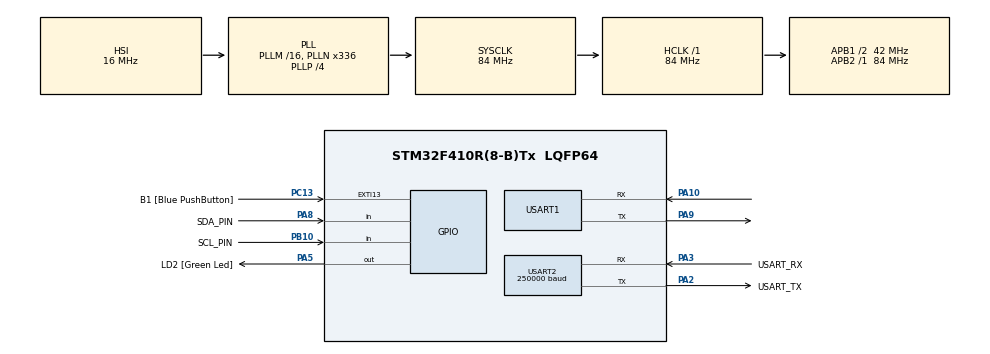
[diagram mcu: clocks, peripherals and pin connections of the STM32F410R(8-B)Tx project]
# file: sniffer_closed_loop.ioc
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Mcu.Family=STM32F4
Mcu.Name=STM32F410R(8-B)Tx
Mcu.Package=LQFP64
NVIC.PriorityGroup=NVIC_PRIORITYGROUP_0
NVIC.USART2_IRQn=true\:0\:0\:false\:false\:true\:true\:true\:true
PA10.Mode=Asynchronous
PA10.Signal=USART1_RX
PA13.GPIO_Label=TMS
PA13.Mode=Serial_Wire
PA13.Signal=SYS_JTMS-SWDIO
PA14.GPIO_Label=TCK
PA14.Mode=Serial_Wire
PA14.Signal=SYS_JTCK-SWCLK
PA2.GPIO_Label=USART_TX
PA2.Mode=Asynchronous
PA2.Signal=USART2_TX
PA3.GPIO_Label=USART_RX
PA3.Mode=Asynchronous
PA3.Signal=USART2_RX
PA5.GPIO_Label=LD2 [Green Led]
PA5.Signal=GPIO_Output
PA8.GPIO_Label=SDA_PIN
PA8.Signal=GPIO_Input
PA9.Mode=Asynchronous
PA9.Signal=USART1_TX
PB10.GPIO_Label=SCL_PIN
PB10.Signal=GPIO_Input
PB3.GPIO_Label=SWO
PB3.Signal=SYS_JTDO-SWO
PC13-ANTI_TAMP.GPIO_Label=B1 [Blue PushButton]
PC13-ANTI_TAMP.GPIO_ModeDefaultEXTI=GPIO_MODE_IT_FALLING
PC13-ANTI_TAMP.Signal=GPXTI13
PC14-OSC32_IN.Mode=LSE-External-Oscillator
PC14-OSC32_IN.Signal=RCC_OSC32_IN
PC15-OSC32_OUT.Mode=LSE-External-Oscillator
PC15-OSC32_OUT.Signal=RCC_OSC32_OUT
PH0\ -\ OSC_IN.Mode=HSE-External-Clock-Source
PH0\ -\ OSC_IN.Signal=RCC_OSC_IN
PH1\ -\ OSC_OUT.Mode=HSE-External-Clock-Source
PH1\ -\ OSC_OUT.Signal=RCC_OSC_OUT
ProjectManager.HeapSize=0x200
ProjectManager.StackSize=0x400
ProjectManager.TargetToolchain=STM32CubeIDE
RCC.48MHZClocksFreq_Value=84000000
RCC.AHBFreq_Value=84000000
RCC.APB1CLKDivider=RCC_HCLK_DIV2
RCC.APB1Freq_Value=42000000
RCC.APB1TimFreq_Value=84000000
RCC.APB2Freq_Value=84000000
RCC.APB2TimFreq_Value=84000000
RCC.CortexFreq_Value=84000000
RCC.FLatency-AdvancedSettings=FLASH_LATENCY_2
RCC.HCLKFreq_Value=84000000
RCC.HSE_VALUE=8000000
RCC.HSI_VALUE=16000000
RCC.PLLN=336
RCC.PLLP=RCC_PLLP_DIV4
RCC.SYSCLKFreq_VALUE=84000000
RCC.SYSCLKSource=RCC_SYSCLKSOURCE_PLLCLK
RCC.VCOOutputFreq_Value=336000000
USART1.VirtualMode=VM_ASYNC
USART2.BaudRate=250000
USART2.VirtualMode=VM_ASYNC
board=NUCLEO-F410RB

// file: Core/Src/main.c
/* USER CODE BEGIN Header */
/**
  ******************************************************************************
  * @file           : main.c
  * @brief          : Main program body
  ******************************************************************************
  * @attention
  *
  * Copyright (c) 2024 STMicroelectronics.
  * All rights reserved.
  *
  * This software is licensed under terms that can be found in the LICENSE file
  * in the root directory of this software component.
  * If no LICENSE file comes with this software, it is provided AS-IS.
  *
  ******************************************************************************
  */
/* USER CODE END Header */
#include "main.h"

/* USER CODE BEGIN Includes */
#include "stdbool.h"
#include "stm32f4xx_it.h"
#include "string.h"
#include "stdio.h"
/* USER CODE END Includes */

/* USER CODE BEGIN PD */
#define BUFFSIZE          10000
#define TIMEOUT             50
#define ON                  1
#define OFF                 0
#define START1            0xC0
#define START2            0x40
/* USER CODE END PD */

UART_HandleTypeDef huart1;
UART_HandleTypeDef huart2;

/* USER CODE BEGIN PV */
int j=0;
uint8_t buffer[BUFFSIZE];
uint32_t counter=0;
/* USER CODE END PV */

void SystemClock_Config(void);
static void MX_GPIO_Init(void);
static void MX_USART2_UART_Init(void);
static void MX_USART1_UART_Init(void);
/* USER CODE BEGIN PFP */
uint8_t sample(void);
uint32_t millis(void);
void display_data(int points);
int acquire_data(void);
int findNextStartCondition(int k);
int gbuffer(int i);
void printHexByte(uint8_t b);
uint8_t UART1_rxBuffer[23] = {0};
/* USER CODE END PFP */

int main(void)
{

  /* MCU Configuration--------------------------------------------------------*/

  /* Reset of all peripherals, Initializes the Flash interface and the Systick. */
  HAL_Init();

  /* Configure the system clock */
  SystemClock_Config();

  /* Initialize all configured peripherals */
  MX_GPIO_Init();
  MX_USART2_UART_Init();
  MX_USART1_UART_Init();
  /* USER CODE BEGIN 2 */
  HAL_UART_Receive_IT(&huart2, UART1_rxBuffer, 17);
  /* USER CODE END 2 */

  /* Infinite loop */
  /* USER CODE BEGIN WHILE */
  while (1)
  {
	  int points = acquire_data();
	  display_data(points);

    /* USER CODE END WHILE */

  }
}

void SystemClock_Config(void)
{
  RCC_OscInitTypeDef RCC_OscInitStruct = {0};
  RCC_ClkInitTypeDef RCC_ClkInitStruct = {0};

  /** Configure the main internal regulator output voltage
  */
  __HAL_RCC_PWR_CLK_ENABLE();
  __HAL_PWR_VOLTAGESCALING_CONFIG(PWR_REGULATOR_VOLTAGE_SCALE1);

  /** Initializes the RCC Oscillators according to the specified parameters
  * in the RCC_OscInitTypeDef structure.
  */
  RCC_OscInitStruct.OscillatorType = RCC_OSCILLATORTYPE_HSI;
  RCC_OscInitStruct.HSIState = RCC_HSI_ON;
  RCC_OscInitStruct.HSICalibrationValue = RCC_HSICALIBRATION_DEFAULT;
  RCC_OscInitStruct.PLL.PLLState = RCC_PLL_ON;
  RCC_OscInitStruct.PLL.PLLSource = RCC_PLLSOURCE_HSI;
  RCC_OscInitStruct.PLL.PLLM = 16;
  RCC_OscInitStruct.PLL.PLLN = 336;
  RCC_OscInitStruct.PLL.PLLP = RCC_PLLP_DIV4;
  RCC_OscInitStruct.PLL.PLLQ = 4;
  RCC_OscInitStruct.PLL.PLLR = 2;
  if (HAL_RCC_OscConfig(&RCC_OscInitStruct) != HAL_OK)
  {
    Error_Handler();
  }

  /** Initializes the CPU, AHB and APB buses clocks
  */
  RCC_ClkInitStruct.ClockType = RCC_CLOCKTYPE_HCLK|RCC_CLOCKTYPE_SYSCLK
                              |RCC_CLOCKTYPE_PCLK1|RCC_CLOCKTYPE_PCLK2;
  RCC_ClkInitStruct.SYSCLKSource = RCC_SYSCLKSOURCE_PLLCLK;
  RCC_ClkInitStruct.AHBCLKDivider = RCC_SYSCLK_DIV1;
  RCC_ClkInitStruct.APB1CLKDivider = RCC_HCLK_DIV2;
  RCC_ClkInitStruct.APB2CLKDivider = RCC_HCLK_DIV1;

  if (HAL_RCC_ClockConfig(&RCC_ClkInitStruct, FLASH_LATENCY_2) != HAL_OK)
  {
    Error_Handler();
  }
}

static void MX_USART1_UART_Init(void)
{

  huart1.Instance = USART1;
  huart1.Init.BaudRate = 115200;
  huart1.Init.WordLength = UART_WORDLENGTH_8B;
  huart1.Init.StopBits = UART_STOPBITS_1;
  huart1.Init.Parity = UART_PARITY_NONE;
  huart1.Init.Mode = UART_MODE_TX_RX;
  huart1.Init.HwFlowCtl = UART_HWCONTROL_NONE;
  huart1.Init.OverSampling = UART_OVERSAMPLING_16;
  if (HAL_UART_Init(&huart1) != HAL_OK)
  {
    Error_Handler();
  }

}

static void MX_USART2_UART_Init(void)
{

  huart2.Instance = USART2;
  huart2.Init.BaudRate = 250000;
  huart2.Init.WordLength = UART_WORDLENGTH_8B;
  huart2.Init.StopBits = UART_STOPBITS_1;
  huart2.Init.Parity = UART_PARITY_NONE;
  huart2.Init.Mode = UART_MODE_TX_RX;
  huart2.Init.HwFlowCtl = UART_HWCONTROL_NONE;
  huart2.Init.OverSampling = UART_OVERSAMPLING_16;
  if (HAL_UART_Init(&huart2) != HAL_OK)
  {
    Error_Handler();
  }

}

static void MX_GPIO_Init(void)
{
  GPIO_InitTypeDef GPIO_InitStruct = {0};

  /* GPIO Ports Clock Enable */
  __HAL_RCC_GPIOC_CLK_ENABLE();
  __HAL_RCC_GPIOH_CLK_ENABLE();
  __HAL_RCC_GPIOA_CLK_ENABLE();
  __HAL_RCC_GPIOB_CLK_ENABLE();

  /*Configure GPIO pin Output Level */
  HAL_GPIO_WritePin(LD2_GPIO_Port, LD2_Pin, GPIO_PIN_RESET);

  /*Configure GPIO pin : B1_Pin */
  GPIO_InitStruct.Pin = B1_Pin;
  GPIO_InitStruct.Mode = GPIO_MODE_IT_FALLING;
  GPIO_InitStruct.Pull = GPIO_NOPULL;
  HAL_GPIO_Init(B1_GPIO_Port, &GPIO_InitStruct);

  /*Configure GPIO pin : LD2_Pin */
  GPIO_InitStruct.Pin = LD2_Pin;
  GPIO_InitStruct.Mode = GPIO_MODE_OUTPUT_PP;
  GPIO_InitStruct.Pull = GPIO_NOPULL;
  GPIO_InitStruct.Speed = GPIO_SPEED_FREQ_LOW;
  HAL_GPIO_Init(LD2_GPIO_Port, &GPIO_InitStruct);

  /*Configure GPIO pin : SCL_PIN_Pin */
  GPIO_InitStruct.Pin = SCL_PIN_Pin;
  GPIO_InitStruct.Mode = GPIO_MODE_INPUT;
  GPIO_InitStruct.Pull = GPIO_NOPULL;
  HAL_GPIO_Init(SCL_PIN_GPIO_Port, &GPIO_InitStruct);

  /*Configure GPIO pin : SDA_PIN_Pin */
  GPIO_InitStruct.Pin = SDA_PIN_Pin;
  GPIO_InitStruct.Mode = GPIO_MODE_INPUT;
  GPIO_InitStruct.Pull = GPIO_NOPULL;
  HAL_GPIO_Init(SDA_PIN_GPIO_Port, &GPIO_InitStruct);

}

/* USER CODE BEGIN 4 */

////////////////////////
void printHexByte(uint8_t b) //-------------------> funziona
////////////////////////
{
  char hexChars[] = "0123456789ABCDEF";

  // Calcola i valori hex dei nibble
  char highNibble = hexChars[(b >> 4) & 0x0F];
  char lowNibble = hexChars[b & 0x0F];
  // Invia i caratteri sulla seriale
  HAL_UART_Transmit(&huart2, (uint8_t *)&highNibble, 1, HAL_MAX_DELAY);
  HAL_UART_Transmit(&huart2, (uint8_t *)&lowNibble, 1, HAL_MAX_DELAY);
}

////////////////////////
void printabytes(int* bytes)//-----------------------> non l'ho provata ma penso che funzioni
///////////////////////
{
  for(int i=0; i<3; i++)
  {
    printHexByte(bytes[i] / 2);
  }
}

//////////////////
int gbuffer(int i)//---------------------------> sembra funzionare, attento al tipo ecc
//////////////////
{
    return (buffer[i] >> 6) & 0x3;
}

/////////////////////////////////
int findNextStartCondition(int k)//-------------------------> non dovrebbe avere niente di strano
/////////////////////////////////
{
  while((k < BUFFSIZE- 1) && ((gbuffer(k - 1) != 3) || (gbuffer(k) != 1)))
    k++;
    // Serial.print("Next start condition: "); Serial.println(k);
  return k;
}

//////////////////
int acquire_data()//------------------------------------> CONTROLLARE SE FUNZIONA, LE FUNZIONI dovrei averle messe
//////////////////
// Pins are hard coded for speed reason
{
  unsigned long endtime;
  unsigned int data,lastData;

  // wait until start condition is fullfilled
  bool start = false;
  while (!start)
  {
    while ((lastData = sample()) != START1);          // wait until state is START1
    while ((data = sample()) == lastData);            // wait until state change, cambia il valore dopo lo start, aspetto che non sia piu il messaggio di start
    start = (data == START2);                       // start condtion met if new state is START2
    //quando il messaggio finisce
  }

//C'e un controllo sul valore dei pinD selezionati per sda e scl, una volta che lo stop (scl e sda alti) allora il messaggio dovrebbe essere finito in teoria
  endtime = millis() + TIMEOUT; //istante in cui viene chiamata piu timeout
  lastData = START2;
  int k = 0;
  buffer[k++] = START1;
  buffer[k++] = START2;
  do {
    while ((data = sample()) == lastData);           // wait until data has changed
    // a me interessano solo quei due bit, quindi me li saldo in un buffer. Questo buffer avra valori ad 8 bit che poi modifiati ci daranno il dato in decimale o esa
    buffer[k++] = lastData = data;    //in teroia sono solo i due bit pero
  }
  //quindi alla fine della funzione avro un be=uffer di 1000 con tutti i valori, presumibilmente i valori saranno tipo 1000/10 penso
  while ((k < BUFFSIZE) && (millis() < endtime));
  return k;
}

//////////////////
uint32_t millis()
/////////////////
{
  return counter;
}

/////////////////////////
void SysTick_Handler(void)
////////////////////////
{
  /* USER CODE BEGIN SysTick_IRQn 0 */
  counter++;
  /* USER CODE END SysTick_IRQn 0 */
  HAL_IncTick();
  /* USER CODE BEGIN SysTick_IRQn 1 */

  /* USER CODE END SysTick_IRQn 1 */
}

////////////////////////
uint8_t sample(void)//------------------> si potrebbe anche provare separatamente ma penso che in linea di massima vada bene
///////////////////////
{
	return ((HAL_GPIO_ReadPin(GPIOA, SDA_PIN_Pin)<<7)|(HAL_GPIO_ReadPin(GPIOB, SCL_PIN_Pin)<<6));
}

/////////////////////////////
void display_data(int points) // quindi in ingresso ho il buffer con i valori del sample
/////////////////////////////
{
  int  data, k, Bit, Byte, i, state,nextStart;
  int bytes[10];
  char ad7746_flag=OFF, flag_OK=OFF;
  int count=0;
  char string[64];
  uint32_t starttime;

  #define ADDRESS  0         // First state, address follows
  #define FIRST    1
  #define AST      2
  #define DATA     3
  #define AD7746            48
  #define FIRST_VAL         0x0E
  starttime = millis();

  k = 3;              // ignore start transition, nei primi tre ha niente, start1 e start2
  i = 0;
  Byte = 0;
  state = ADDRESS;
  nextStart = findNextStartCondition(k); //cerca se sono arrivato allo stop e restituisce dove sono arrivato
  do { //finche non ha printato tutti i punti
    data = gbuffer(k++);//ha sample alla fine
    if (data & 1)
    { //penso se scl e 1, il valore e aggiornato col fronte alto di clock
      Bit = (data & 2) > 0; //il bit sara 1 o 0 a seconda che sda sia 1 o 0
      Byte = (Byte << 1) + Bit;  //aggiunge il bit al byte che verra poi messo nel buffer
      if(i++>=8)
      {
    	  switch(state)
    	  {
    	  	  case ADDRESS:
    	  		  state++;
    	  		  break;
    	  	  case FIRST:
    	  		  if(Byte/2==0x02)
    	  		  {
    	  			flag_OK=ON;
    	  			HAL_UART_Transmit(&huart2, "\n", strlen("\n"), 50);
    	  		  }
    	  		  else
    	  			flag_OK=OFF;
    	  		  state++;
    	  		  break;
    	  	  default:
				if (flag_OK && count<3)
				{

				  bytes[count]=Byte;
				  count++;
				}
				if (count==3)
				{
				  //j++;
				  printabytes(bytes); //vengono printati solo i valori con tre byte così
				  //HAL_UART_Transmit(&huart2,"-->", strlen("-->"), 50);
				  //snprintf(string,sizeof(string) ,"%d", j);
				  //HAL_UART_Transmit(&huart2,string, strlen(string), 50);
				  count++;
				}
				break;
    	  }
		  if (nextStart - k < 9)
		  {
			k = nextStart + 1;
			nextStart = findNextStartCondition(k);
			state = ADDRESS;
			flag_OK=OFF;
			count=0;
		   }
          i = 0;
          Byte = 0;
       }
    }
  }
  while (k < points);
}

void HAL_UART_RxCpltCallback(UART_HandleTypeDef *huart)
{
    HAL_UART_Transmit(&huart1, UART1_rxBuffer, 17, 1000);
    HAL_UART_Receive_IT(&huart2, UART1_rxBuffer, 17);
}
/* USER CODE END 4 */

void Error_Handler(void)
{
  __disable_irq();
  while (1)
  {
  }
}
